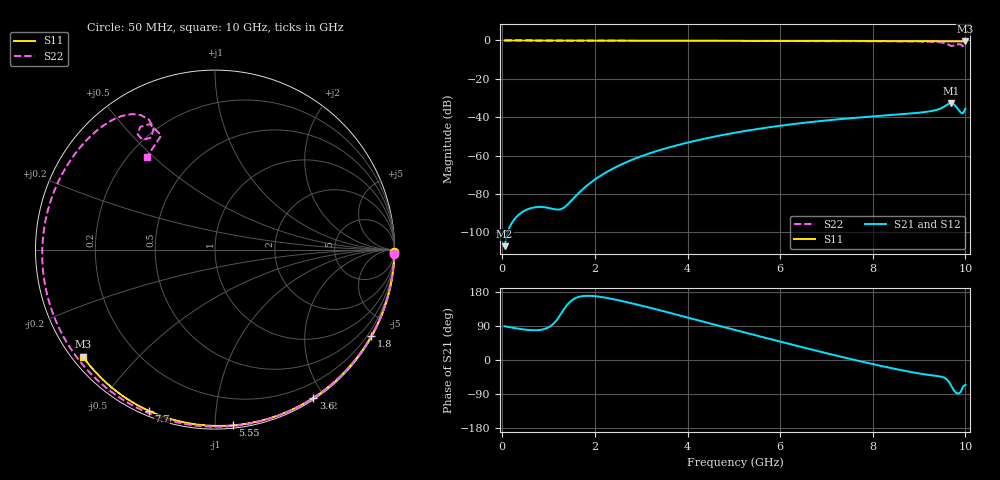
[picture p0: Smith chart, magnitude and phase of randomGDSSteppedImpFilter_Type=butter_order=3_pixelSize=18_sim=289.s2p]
! freq	dB(S11)	phase(S11)	dB(S12)	phase(S12)
!  dB(S21)	phase(S21)	dB(S22)	phase(S22)
!S-par simulation data
#  GHz  S  DB  R 50
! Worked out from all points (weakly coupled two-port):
!   200 points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, 50 MHz to 10 GHz, reference 50 ohm
!   highest |S21| = -32.60 dB at 9.7 GHz (marker M1); lowest = -107.2 dB at 50 MHz (marker M2)
!   lowest |S11| = -0.5 dB at 10 GHz (marker M3), VSWR 36.54, Z = 1.54 - j17.7 ohm
!   |S11| at or under -10 dB: nowhere
!   |S22| runs from -3.9 to 0.0 dB; largest |S21 - S12| = 0
!   S11 on the Smith chart (normalised r, x): 50 MHz: open; 1.8 GHz: 0.03, -3.88; 3.6 GHz: 0.02, -1.86; 5.55 GHz: 0.02, -1.11; 7.7 GHz: 0.02, -0.67; 10 GHz: 0.03, -0.35
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0.05  -0.00 -0.8  -107.21 89.0  -107.21 89.0  -0.00 -1.5
0.8  -0.02 -13.0  -86.76 79.2  -86.76 79.2  -0.03 -24.1
1.6  -0.03 -25.8  -80.74 164.3  -80.74 164.3  -0.06 -47.5
1.75  -0.04 -28.1  -77.26 168.8  -77.26 168.8  -0.06 -51.7
1.8  -0.04 -28.9  -76.21 169.3  -76.21 169.3  -0.07 -53.1
2.1  -0.04 -33.6  -70.84 167.0  -70.84 167.0  -0.08 -61.4
2.5  -0.05 -39.8  -65.44 157.9  -65.44 157.9  -0.09 -72.2
3.4  -0.07 -53.5  -57.15 131.4  -57.15 131.4  -0.12 -95.3
3.6  -0.08 -56.5  -55.76 125.0  -55.76 125.0  -0.13 -100.2
5.05  -0.12 -77.3  -47.97 78.5  -47.97 78.5  -0.19 -133.7
5.55  -0.14 -84.2  -46.00 62.7  -46.00 62.7  -0.22 -144.7
6.7  -0.19 -99.5  -42.42 27.0  -42.42 27.0  -0.29 -169.4
7.7  -0.26 -112.3  -40.16 -2.5  -40.16 -2.5  -0.38 168.8
8.35  -0.31 -120.5  -38.94 -20.1  -38.94 -20.1  -0.45 154.0
9  -0.37 -128.5  -37.64 -35.5  -37.64 -35.5  -0.55 137.7
9.45  -0.41 -134.1  -35.58 -43.4  -35.58 -43.4  -0.94 123.1
9.6  -0.43 -135.9  -33.58 -51.3  -33.58 -51.3  -1.78 117.0
9.7  -0.44 -137.2  -32.60 -69.3  -32.60 -69.3  -2.87 119.6
9.8  -0.45 -138.4  -34.53 -86.9  -34.53 -86.9  -2.22 123.9
9.9  -0.46 -139.7  -37.58 -84.3  -37.58 -84.3  -2.07 117.4
9.95  -0.47 -140.3  -37.96 -69.6  -37.96 -69.6  -3.06 115.2
10  -0.48 -140.9  -35.52 -65.3  -35.52 -65.3  -3.87 126.3
